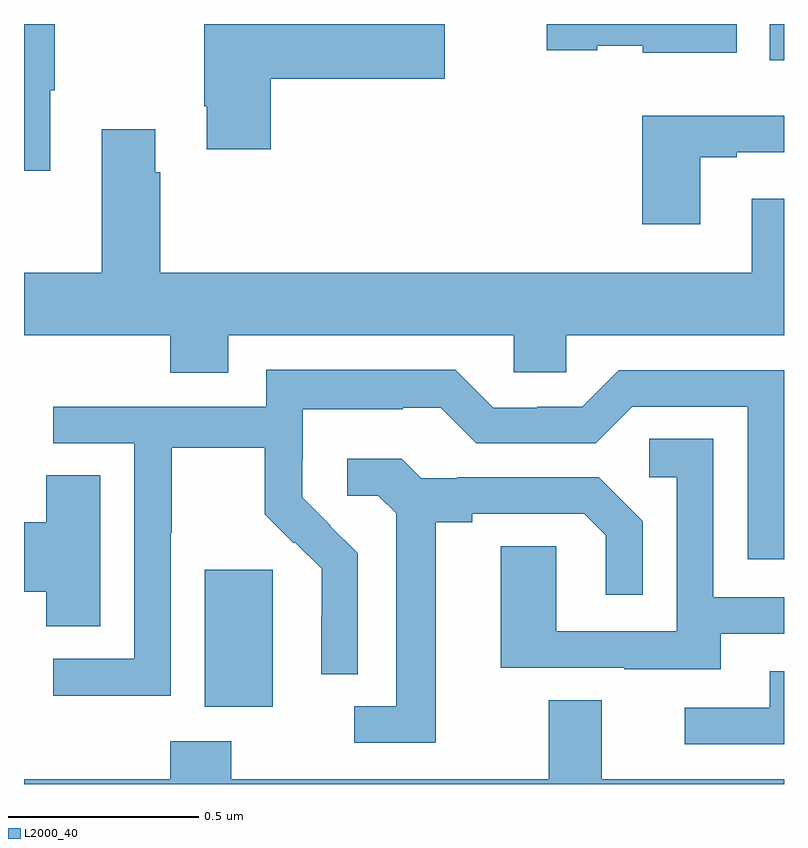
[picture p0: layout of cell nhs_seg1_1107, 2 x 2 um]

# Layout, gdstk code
import gdstk
lib = gdstk.Library(unit=1e-6, precision=1e-09)
def R(c, l, rs):  # rectangles x0, y0, x1, y1
    for r in rs: c.add(gdstk.rectangle(r[:2], r[2:], *l))
def P(c, l, *ps):  # polygons
    for p in ps: c.add(gdstk.Polygon(p, *l))
L2000_40 = (2000, 40)

nhs_seg1_1107 = lib.new_cell('nhs_seg1_1107')
R(nhs_seg1_1107, L2000_40, [(124.475,569.402,124.654,569.763), (125.963,571.104,126,571.199)])
P(nhs_seg1_1107, L2000_40, [(125.875,571.199),(125.376,571.199),(125.376,571.13),(125.508,571.13),(125.508,571.142),(125.628,571.142),(125.628,571.124),(125.875,571.124)],
  [(124.649,571.055),(125.107,571.055),(125.107,571.199),(124.474,571.199),(124.474,570.982),(124.481,570.982),(124.481,570.87),(124.649,570.87)],
  [(124.069,571.025),(124.081,571.025),(124.081,571.199),(124,571.199),(124,570.813),(124.069,570.813)],
  [(125.779,570.849),(125.875,570.849),(125.875,570.861),(126,570.861),(126,570.958),(125.627,570.958),(125.627,570.672),(125.779,570.672)],
  [(124.537,570.38),(125.289,570.38),(125.289,570.282),(125.427,570.282),(125.427,570.38),(126,570.38),(126,570.739),(125.915,570.739),(125.915,570.544),(124.358,570.544),(124.358,570.809),(124.345,570.809),(124.345,570.922),(124.205,570.922),(124.205,570.544),(124,570.544),(124,570.38),(124.385,570.38),(124.385,570.281),(124.537,570.281)],
  [(124.386,569.86),(124.389,569.86),(124.389,570.084),(124.633,570.084),(124.633,569.909),(124.71,569.832),(124.713,569.835),(124.784,569.765),(124.784,569.642),(124.782,569.642),(124.782,569.488),(124.878,569.488),(124.878,569.806),(124.805,569.879),(124.806,569.88),(124.732,569.954),(124.732,570.051),(124.734,570.051),(124.734,570.185),(124.997,570.185),(124.997,570.189),(125.097,570.189),(125.19,570.096),(125.505,570.096),(125.601,570.192),(125.904,570.192),(125.904,569.79),(126,569.79),(126,570.288),(125.565,570.288),(125.469,570.192),(125.351,570.192),(125.351,570.189),(125.235,570.189),(125.135,570.289),(124.638,570.289),(124.638,570.192),(124.077,570.192),(124.077,570.096),(124.29,570.096),(124.29,569.529),(124.077,569.529),(124.077,569.431),(124.386,569.431)],
  [(125.833,569.595),(126,569.595),(126,569.691),(125.814,569.691),(125.814,570.107),(125.646,570.107),(125.646,570.006),(125.718,570.006),(125.718,569.601),(125.4,569.601),(125.4,569.825),(125.255,569.825),(125.255,569.505),(125.579,569.505),(125.579,569.501),(125.833,569.501)],
  [(125.083,569.888),(125.179,569.888),(125.179,569.91),(125.474,569.91),(125.531,569.853),(125.531,569.697),(125.628,569.697),(125.628,569.89),(125.512,570.006),(125.14,570.006),(125.14,570.003),(125.046,570.003),(124.994,570.055),(124.851,570.055),(124.851,569.958),(124.932,569.958),(124.979,569.911),(124.979,569.403),(124.869,569.403),(124.869,569.307),(125.083,569.307)],
  [(124.201,570.011),(124.058,570.011),(124.058,569.888),(124,569.888),(124,569.705),(124.058,569.705),(124.058,569.614),(124.201,569.614)],
  [(126,569.496),(125.963,569.496),(125.963,569.4),(125.739,569.4),(125.739,569.304),(126,569.304)],
  [(126,569.212),(125.521,569.212),(125.521,569.42),(125.381,569.42),(125.381,569.212),(124.545,569.212),(124.545,569.311),(124.385,569.311),(124.385,569.212),(124,569.212),(124,569.199),(126,569.199)])

lib.write_gds('nhs_seg1_1107.gds')
